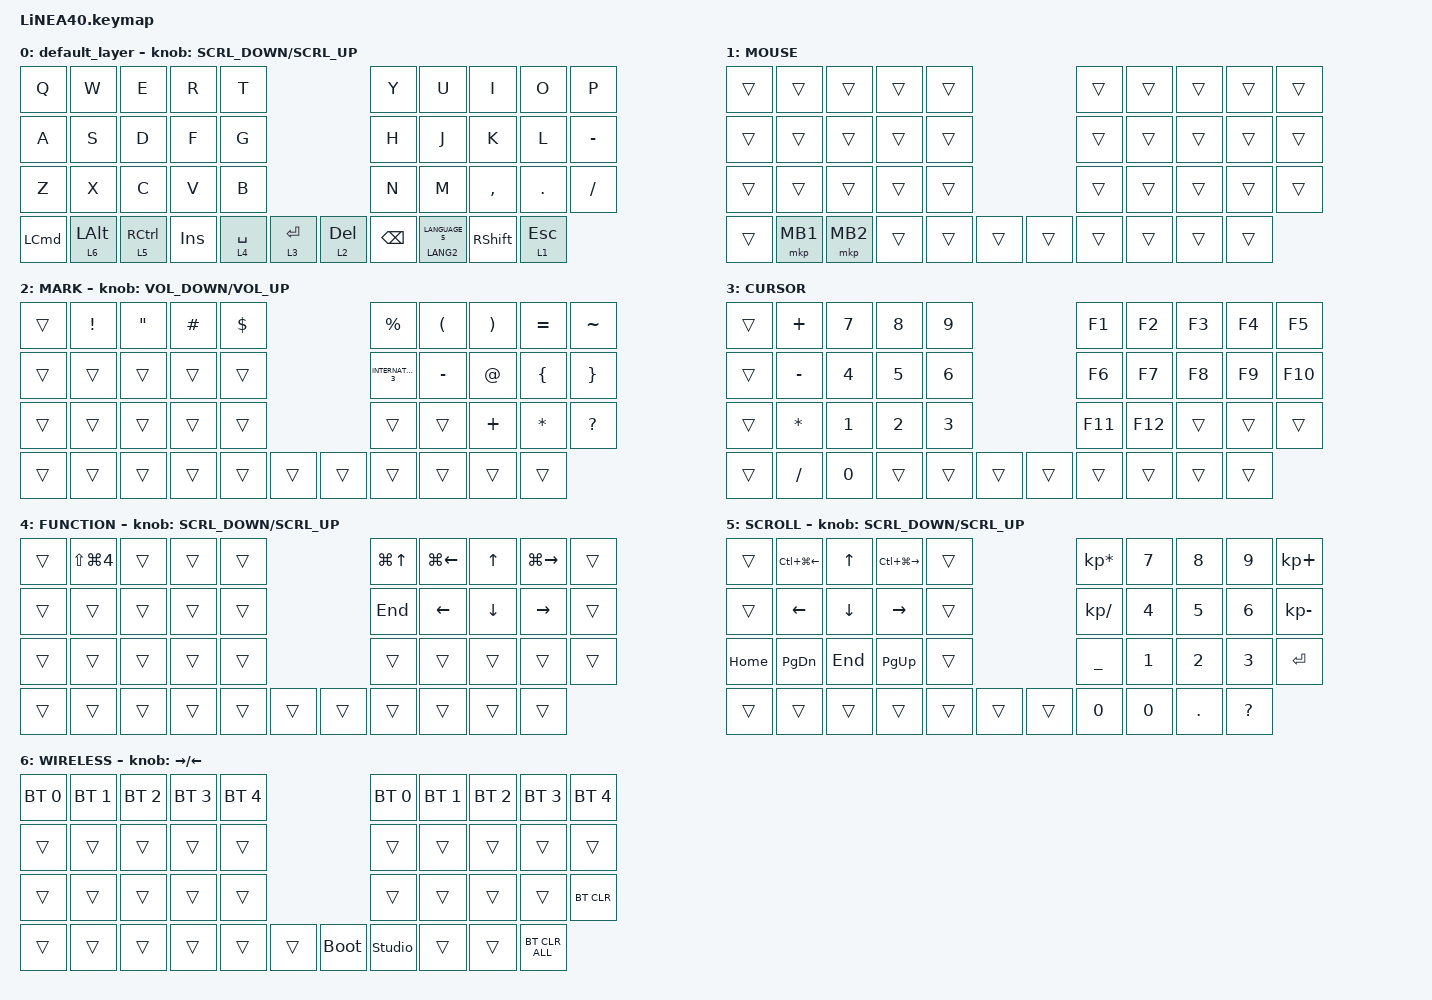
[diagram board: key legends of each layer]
#define ZMK_POINTING_DEFAULT_SCRL_VAL 150

#include <dt-bindings/zmk/input_transform.h>
#include <input/processors.dtsi>
#include <zephyr/dt-bindings/input/input-event-codes.h>
#include <behaviors.dtsi>
#include <dt-bindings/zmk/bt.h>
#include <dt-bindings/zmk/keys.h>
#include <dt-bindings/zmk/pointing.h>

#define MOUSE 1
#define MARK 2
#define CURSOR 3
#define FUNCTION 4
#define SCROLL 5
#define WIRELESS 6

//mouse cursol

&mmv {
    delay-ms = <20>;
    trigger-period-ms = <5>;
    time-to-max-speed-ms = <100>;
    acceleration-exponent = <2>;
};

//mouse scroll

&msc {
    delay-ms = <3>;
    trigger-period-ms = <3>;
    time-to-max-speed-ms = <100>;
    acceleration-exponent = <0>;
};

/ {
    input_processors {
        zip_wheel_scaler: zip_wheel_scaler {
            compatible = "zmk,input-processor-scaler";
            #input-processor-cells = <2>;
            type = <INPUT_EV_REL>;
            codes = <INPUT_REL_WHEEL>;
            track-remainders;
        };
    };
};

&msc_input_listener {
    speed_up {
        layers = <FUNCTION>;
        input-processors = <&zip_wheel_scaler 3 1>; //スクロールを3倍速にする
    };
};

&trackball_listener {
    scroller {
        layers = <SCROLL>;
        input-processors =
            <&zip_xy_transform INPUT_TRANSFORM_Y_INVERT>,
            //スクロール方向を逆転,,,,,,,,,,
            <&zip_xy_to_scroll_mapper>;
    };
};

/ {
    combos {
        compatible = "zmk,combos";

        ZenkakuHankaku {
            bindings = <&kp GRAVE>;
            key-positions = <11 12>;
        };

        DeleteKey {
            bindings = <&kp DEL>;
            key-positions = <7 8>;
        };

        InsertKey {
            bindings = <&kp INS>;
            key-positions = <6 7>;
        };

        CenterClick {
            bindings = <&mkp MB3>;
            key-positions = <17 16>;
        };

        RightClick {
            bindings = <&mkp MB2>;
            key-positions = <18 17>;
        };

        PrevClick {
            bindings = <&mkp MB4>;
            key-positions = <27 28>;
        };

        ClickNext {
            bindings = <&mkp MB5>;
            key-positions = <26 27>;
        };
    };

    behaviors {
        re_kp: sensor_rotate_kp {
            compatible = "zmk,behavior-sensor-rotate-var";
            #sensor-binding-cells = <2>;
            bindings = <&kp>, <&kp>;
        };

        mouse_scrl: mouse_wheel_scrl {
            compatible = "zmk,behavior-sensor-rotate-var";
            #sensor-binding-cells = <2>;
            bindings = <&msc>, <&msc>;

            tap-ms = <20>;
        };
    };

    keymap {
        compatible = "zmk,keymap";

        default_layer {
            bindings = <
&kp Q     &kp W           &kp E        &kp R    &kp T                                     &kp Y          &kp U  &kp I                 &kp O            &kp P
&kp A     &kp S           &kp D        &kp F    &kp G                                     &kp H          &kp J  &kp K                 &kp L            &kp MINUS
&kp Z     &kp X           &kp C        &kp V    &kp B                                     &kp N          &kp M  &kp COMMA             &kp DOT          &kp SLASH
&kp LCMD  &lt 6 LEFT_ALT  &lt 5 RCTRL  &kp INS  &lt 4 SPACE  &lt 3 ENTER    &lt 2 DELETE  &kp BACKSPACE         &mt LANG2 LANGUAGE_5  &kp RIGHT_SHIFT  &lt 1 ESCAPE
            >;

            sensor-bindings = <&mouse_scrl SCRL_DOWN SCRL_UP>;
        };

        //1

        MOUSE {
            bindings = <
&trans  &trans    &trans    &trans  &trans                    &trans  &trans  &trans  &trans  &trans
&trans  &trans    &trans    &trans  &trans                    &trans  &trans  &trans  &trans  &trans
&trans  &trans    &trans    &trans  &trans                    &trans  &trans  &trans  &trans  &trans
&trans  &mkp MB1  &mkp MB2  &trans  &trans  &trans    &trans  &trans          &trans  &trans  &trans
            >;
        };

        //2

        MARK {
            bindings = <
&trans  &kp EXCLAMATION  &kp DOUBLE_QUOTES  &kp HASH  &kp DOLLAR                    &kp PERCENT          &kp LEFT_PARENTHESIS  &kp RIGHT_PARENTHESIS  &kp EQUAL       &kp TILDE
&trans  &trans           &trans             &trans    &trans                        &kp INTERNATIONAL_3  &kp MINUS             &kp AT_SIGN            &kp LEFT_BRACE  &kp RIGHT_BRACE
&trans  &trans           &trans             &trans    &trans                        &trans               &trans                &kp PLUS               &kp ASTERISK    &kp QUESTION
&trans  &trans           &trans             &trans    &trans      &trans    &trans  &trans                                     &trans                 &trans          &trans
            >;

            sensor-bindings = <&re_kp C_VOLUME_DOWN C_VOLUME_UP>;
        };

        //3

        CURSOR {
            bindings = <
&trans  &kp PLUS      &kp NUMBER_7  &kp NUMBER_8  &kp NUMBER_9                    &kp F1   &kp F2   &kp F3  &kp F4  &kp F5
&trans  &kp MINUS     &kp NUMBER_4  &kp NUMBER_5  &kp NUMBER_6                    &kp F6   &kp F7   &kp F8  &kp F9  &kp F10
&trans  &kp ASTERISK  &kp NUMBER_1  &kp NUMBER_2  &kp NUMBER_3                    &kp F11  &kp F12  &trans  &trans  &trans
&trans  &kp SLASH     &kp NUMBER_0  &trans        &trans        &trans    &trans  &trans            &trans  &trans  &trans
            >;
        };

        //4

        FUNCTION {
            bindings = <
&trans  &kp LS(LG(NUMBER_4))  &trans  &trans  &trans                    &kp LG(UP_ARROW)  &kp LG(LEFT)  &kp UP_ARROW  &kp LG(RIGHT)  &trans
&trans  &trans                &trans  &trans  &trans                    &kp END           &kp LEFT      &kp DOWN      &kp RIGHT      &trans
&trans  &trans                &trans  &trans  &trans                    &trans            &trans        &trans        &trans         &trans
&trans  &trans                &trans  &trans  &trans  &trans    &trans  &trans                          &trans        &trans         &trans
            >;

            sensor-bindings = <&mouse_scrl SCRL_DOWN SCRL_UP>;
        };

        //5

        SCROLL {
            bindings = <
&trans    &kp LC(LG(LEFT_ARROW))  &kp UP_ARROW  &kp LC(LG(RIGHT_ARROW))  &trans                    &kp KP_MULTIPLY  &kp NUMBER_7  &kp NUMBER_8  &kp NUMBER_9  &kp KP_PLUS
&trans    &kp LEFT_ARROW          &kp DOWN      &kp RIGHT_ARROW          &trans                    &kp KP_SLASH     &kp NUMBER_4  &kp NUMBER_5  &kp NUMBER_6  &kp KP_MINUS
&kp HOME  &kp PAGE_DOWN           &kp END       &kp PAGE_UP              &trans                    &kp UNDER        &kp NUMBER_1  &kp NUMBER_2  &kp NUMBER_3  &kp ENTER
&trans    &trans                  &trans        &trans                   &trans  &trans    &trans  &kp NUMBER_0                   &kp NUMBER_0  &kp DOT       &kp QUESTION
            >;

            sensor-bindings = <&mouse_scrl SCRL_DOWN SCRL_UP>;
        };

        //6

        WIRELESS {
            bindings = <
&bt BT_SEL 0  &bt BT_SEL 1  &bt BT_SEL 2  &bt BT_SEL 3  &bt BT_SEL 4                         &bt BT_SEL 0    &bt BT_SEL 1  &bt BT_SEL 2  &bt BT_SEL 3  &bt BT_SEL 4
&trans        &trans        &trans        &trans        &trans                               &trans          &trans        &trans        &trans        &trans
&trans        &trans        &trans        &trans        &trans                               &trans          &trans        &trans        &trans        &bt BT_CLR
&trans        &trans        &trans        &trans        &trans        &trans    &bootloader  &studio_unlock                &trans        &trans        &bt BT_CLR_ALL
            >;

            sensor-bindings = <&inc_dec_kp RIGHT_ARROW LEFT_ARROW>;
        };
    };
};
